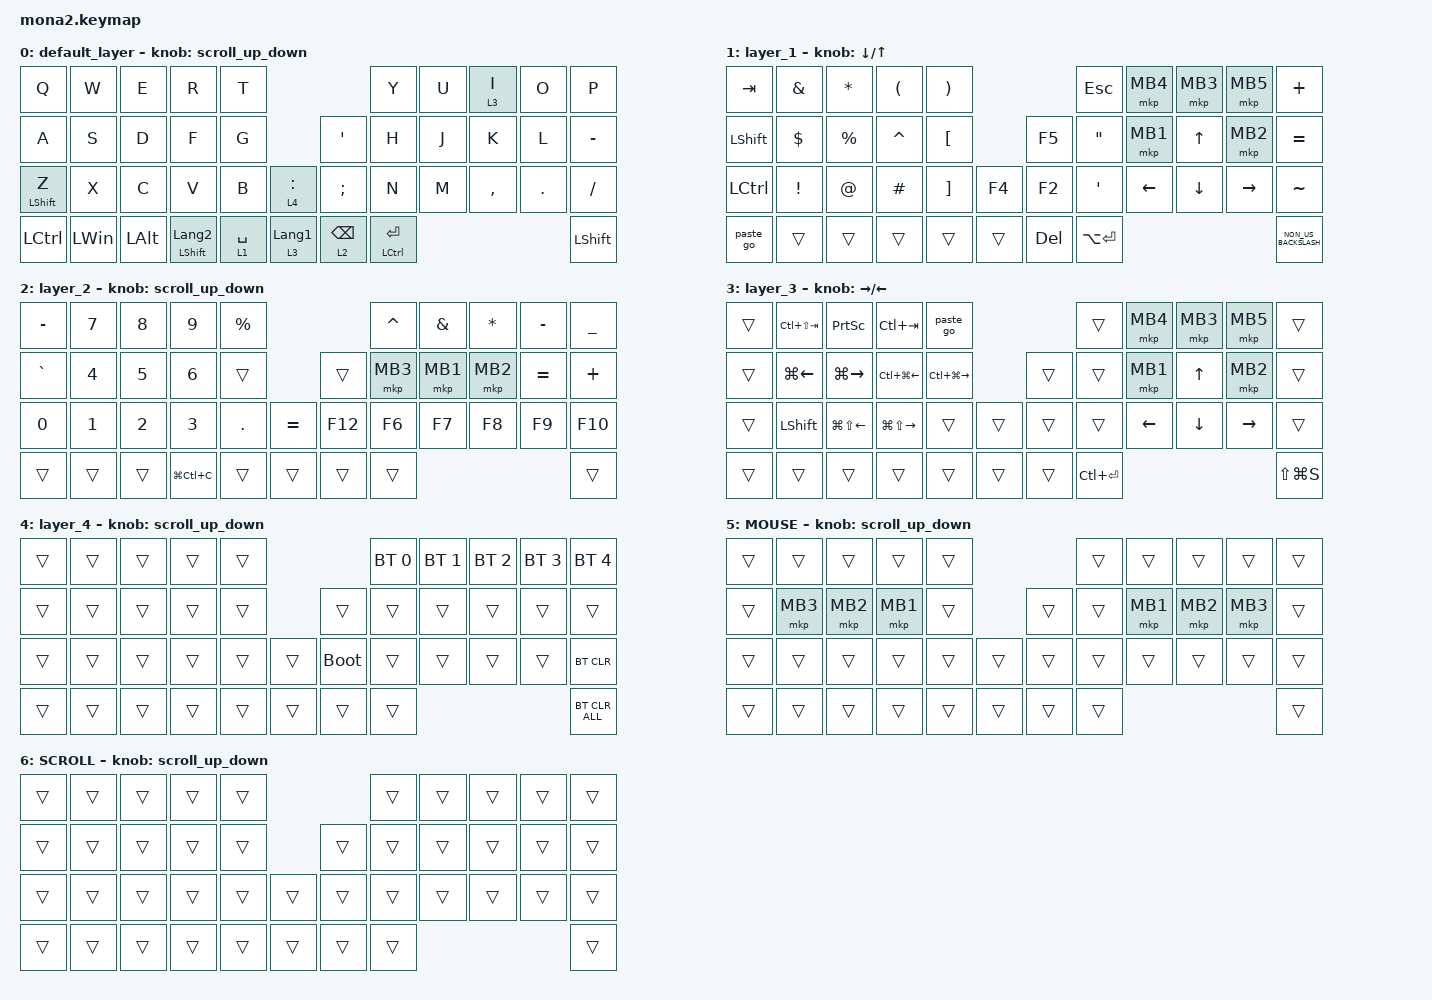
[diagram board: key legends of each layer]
#include <input/processors.dtsi>
#include <dt-bindings/zmk/input_transform.h>
#include <zephyr/dt-bindings/input/input-event-codes.h>
#include <behaviors.dtsi>
#include <dt-bindings/zmk/bt.h>
#include <dt-bindings/zmk/keys.h>
#include <dt-bindings/zmk/pointing.h>

#define ZMK_POINTING_DEFAULT_SCRL_VAL 100
#define MOUSE 5
#define SCROLL 6

&mt {
    flavor = "balanced";
    quick-tap-ms = <0>;
};

&lt {
    quick-tap-ms = <300>;
    flavor = "balanced";
};

/ {
    combos {
        compatible = "zmk,combos";

        layer4_ESC {
            bindings = <&lt 4 ESC>;
            key-positions = <39 38>;
        };

        tab {
            bindings = <&kp TAB>;
            key-positions = <11 12>;
        };
    };

    macros {
        to_layer_0: to_layer_0 {
            compatible = "zmk,behavior-macro-one-param";
            #binding-cells = <1>;
            bindings = <&to 0 &macro_param_1to1 &kp MACRO_PLACEHOLDER>;
            label = "TO_LAYER_0";
        };

        paste_go: translate {
            compatible = "zmk,behavior-macro";
            #binding-cells = <0>;
            bindings =
                <&kp LC(C)>,
                <&macro_wait_time 200>,
                <&kp LG(N5)>,
                <&macro_wait_time 300>,
                <&kp LC(I)>,
                <&macro_wait_time 50>,
                <&kp LC(LS(V))>,
                <&macro_wait_time 50>,
                <&kp ENTER>;

            label = "TRANSLATE";
        };
    };

    behaviors {
        lt_to_layer_0: lt_to_layer_0 {
            compatible = "zmk,behavior-hold-tap";
            label = "LAYER_TAP_TO_0";
            bindings = <&mo>, <&to_layer_0>;

            #binding-cells = <2>;
            tapping-term-ms = <200>;
        };

        scroll_up_down: mouse_wheel_up_down {
            compatible = "zmk,behavior-sensor-rotate";
            #sensor-binding-cells = <0>;
            bindings = <&msc SCRL_DOWN>, <&msc SCRL_UP>;

            tap-ms = <20>;
        };

        scroll_right_left: mouse_wheel_right_left {
            compatible = "zmk,behavior-sensor-rotate";
            #sensor-binding-cells = <0>;
            bindings = <&msc SCRL_LEFT>, <&msc SCRL_RIGHT>;

            tap-ms = <20>;
        };
    };

    keymap {
        compatible = "zmk,keymap";

        default_layer {
            bindings = <
&kp Q             &kp W         &kp E         &kp R                      &kp T                                                        &kp Y                   &kp U  &lt 3 I    &kp O    &kp P
&kp A             &kp S         &kp D         &kp F                      &kp G                            &kp SQT                     &kp H                   &kp J  &kp K      &kp L    &kp MINUS
&mt LEFT_SHIFT Z  &kp X         &kp C         &kp V                      &kp B        &lt 4 COLON         &kp SEMICOLON               &kp N                   &kp M  &kp COMMA  &kp DOT  &kp SLASH
&kp LCTRL         &kp LEFT_WIN  &kp LEFT_ALT  &mt LEFT_SHIFT LANGUAGE_2  &lt 1 SPACE  &lt 3 LANGUAGE_1    &lt_to_layer_0 2 BACKSPACE  &mt LEFT_CONTROL ENTER                             &kp LEFT_SHIFT
            >;

            sensor-bindings = <&scroll_up_down>;
        };

        layer_1 {
            bindings = <
&kp TAB           &kp AMPERSAND    &kp ASTRK    &kp LEFT_PARENTHESIS  &kp RIGHT_PARENTHESIS                        &kp ESCAPE         &mkp MB4  &mkp MB3      &mkp MB5   &kp PLUS
&kp LEFT_SHIFT    &kp DOLLAR       &kp PERCENT  &kp CARET             &kp LEFT_BRACKET                 &kp F5      &kp DOUBLE_QUOTES  &mkp MB1  &kp UP_ARROW  &mkp MB2   &kp EQUAL
&kp LEFT_CONTROL  &kp EXCLAMATION  &kp AT_SIGN  &kp HASH              &kp RIGHT_BRACKET      &kp F4    &kp F2      &kp SQT            &kp LEFT  &kp DOWN      &kp RIGHT  &kp TILDE
&paste_go         &trans           &trans       &trans                &trans                 &trans    &kp DELETE  &kp LA(ENTER)                                         &kp NON_US_BACKSLASH
            >;

            sensor-bindings = <&inc_dec_kp DOWN_ARROW UP_ARROW>;
        };

        layer_2 {
            bindings = <
&kp MINUS  &kp N7        &kp N8        &kp N9         &kp PERCENT                        &kp CARET  &kp AMPERSAND  &kp ASTERISK  &kp MINUS  &kp UNDERSCORE
&kp GRAVE  &kp NUMBER_4  &kp N5        &kp NUMBER_6   &trans                    &trans   &mkp MB3   &mkp MB1       &mkp MB2      &kp EQUAL  &kp PLUS
&kp N0     &kp NUMBER_1  &kp NUMBER_2  &kp NUMBER_3   &kp PERIOD   &kp EQUAL    &kp F12  &kp F6     &kp F7         &kp F8        &kp F9     &kp F10
&trans     &trans        &trans        &kp LG(LC(C))  &trans       &trans       &trans   &trans                                             &trans
            >;

            sensor-bindings = <&scroll_up_down>;
        };

        layer_3 {
            bindings = <
&trans  &kp LC(LS(TAB))     &kp PRINTSCREEN         &kp LC(TAB)              &paste_go                                  &trans         &mkp MB4        &mkp MB3        &mkp MB5         &trans
&trans  &kp LG(LEFT_ARROW)  &kp LG(RIGHT_ARROW)     &kp LC(LG(LEFT_ARROW))   &kp LC(LG(RIGHT_ARROW))            &trans  &trans         &mkp MB1        &kp UP_ARROW    &mkp MB2         &trans
&trans  &kp LEFT_SHIFT      &kp LG(LS(LEFT_ARROW))  &kp LG(LS(RIGHT_ARROW))  &trans                   &trans    &trans  &trans         &kp LEFT_ARROW  &kp DOWN_ARROW  &kp RIGHT_ARROW  &trans
&trans  &trans              &trans                  &trans                   &trans                   &trans    &trans  &kp LC(ENTER)                                                   &kp LS(LG(S))
            >;

            sensor-bindings = <&inc_dec_kp RIGHT_ARROW LEFT_ARROW>;
        };

        layer_4 {
            bindings = <
&trans  &trans  &trans  &trans  &trans                         &bt BT_SEL 0  &bt BT_SEL 1  &bt BT_SEL 2  &bt BT_SEL 3  &bt BT_SEL 4
&trans  &trans  &trans  &trans  &trans            &trans       &trans        &trans        &trans        &trans        &trans
&trans  &trans  &trans  &trans  &trans  &trans    &bootloader  &trans        &trans        &trans        &trans        &bt BT_CLR
&trans  &trans  &trans  &trans  &trans  &trans    &trans       &trans                                                  &bt BT_CLR_ALL
            >;

            sensor-bindings = <&scroll_up_down>;
        };

        MOUSE {
            bindings = <
&trans  &trans    &trans    &trans    &trans                    &trans  &trans    &trans    &trans    &trans
&trans  &mkp MB3  &mkp MB2  &mkp MB1  &trans            &trans  &trans  &mkp MB1  &mkp MB2  &mkp MB3  &trans
&trans  &trans    &trans    &trans    &trans  &trans    &trans  &trans  &trans    &trans    &trans    &trans
&trans  &trans    &trans    &trans    &trans  &trans    &trans  &trans                                &trans
            >;

            sensor-bindings = <&scroll_up_down>;
        };

        SCROLL {
            bindings = <
&trans  &trans  &trans  &trans  &trans                    &trans  &trans  &trans  &trans  &trans
&trans  &trans  &trans  &trans  &trans            &trans  &trans  &trans  &trans  &trans  &trans
&trans  &trans  &trans  &trans  &trans  &trans    &trans  &trans  &trans  &trans  &trans  &trans
&trans  &trans  &trans  &trans  &trans  &trans    &trans  &trans                          &trans
            >;

            sensor-bindings = <&scroll_up_down>;
        };
    };
};
